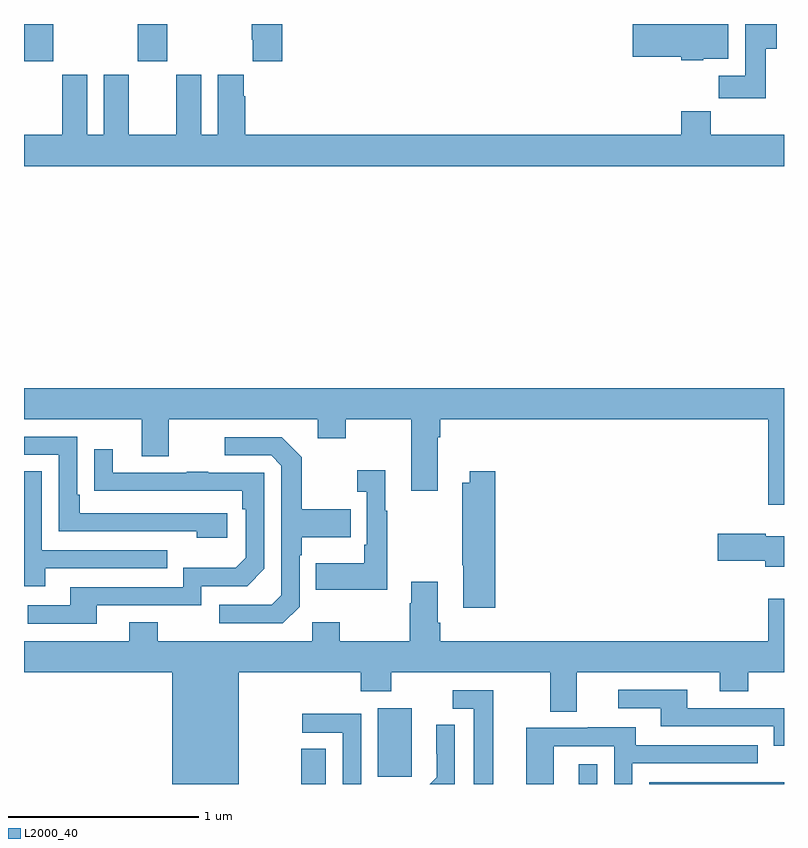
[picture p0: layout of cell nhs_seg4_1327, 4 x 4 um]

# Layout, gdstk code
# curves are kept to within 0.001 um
import gdstk
lib = gdstk.Library(unit=1e-6, precision=1e-09)
def R(c, l, rs):  # rectangles x0, y0, x1, y1
    for r in rs: c.add(gdstk.rectangle(r[:2], r[2:], *l))
def P(c, l, *ps):  # polygons
    for p in ps: c.add(gdstk.Polygon(p, *l))
L2000_40 = (2000, 40)

nhs_seg4_1327 = lib.new_cell('nhs_seg4_1327')
R(nhs_seg4_1327, L2000_40, [(180.458,794.9,180.589,795.086), (181.919,794.9,182.016,795.004), (182.292,794.9,183,794.91), (180.863,794.937,181.042,795.298), (179,798.705,179.154,798.9), (179.599,798.705,179.754,798.9)])
P(nhs_seg4_1327, L2000_40, [(180.359,798.9),(180.199,798.9),(180.199,798.817),(180.203,798.817),(180.203,798.705),(180.359,798.705)],
  [(182.574,798.716),(182.707,798.716),(182.707,798.9),(182.204,798.9),(182.204,798.728),(182.46,798.728),(182.46,798.71),(182.574,798.71)],
  [(182.905,798.769),(182.962,798.769),(182.962,798.9),(182.795,798.9),(182.795,798.628),(182.656,798.628),(182.656,798.51),(182.905,798.51)],
  [(183,798.316),(182.615,798.316),(182.615,798.44),(182.459,798.44),(182.459,798.316),(180.164,798.316),(180.164,798.521),(180.157,798.521),(180.157,798.634),(180.02,798.634),(180.02,798.316),(179.932,798.316),(179.932,798.634),(179.801,798.634),(179.801,798.316),(179.551,798.316),(179.551,798.634),(179.42,798.634),(179.42,798.316),(179.332,798.316),(179.332,798.634),(179.201,798.634),(179.201,798.316),(179,798.316),(179,798.152),(183,798.152)],
  [(183,796.984),(179,796.984),(179,796.82),(179.621,796.82),(179.621,796.626),(179.761,796.626),(179.761,796.82),(180.545,796.82),(180.545,796.721),(180.693,796.721),(180.693,796.82),(181.037,796.82),(181.037,796.443),(181.177,796.443),(181.177,796.724),(181.19,796.724),(181.19,796.82),(182.916,796.82),(182.916,796.371),(183,796.371)],
  [(180.07,796.326),(179.293,796.326),(179.293,796.423),(179.28,796.423),(179.28,796.728),(179,796.728),(179,796.632),(179.184,796.632),(179.184,796.23),(179.909,796.23),(179.909,796.196),(180.07,796.196)],
  [(180.45,795.834),(180.45,796.103),(180.463,796.103),(180.463,796.199),(180.719,796.199),(180.719,796.347),(180.463,796.347),(180.463,796.619),(180.357,796.725),(180.057,796.725),(180.057,796.629),(180.3,796.629),(180.354,796.575),(180.354,795.894),(180.303,795.843),(180.027,795.843),(180.027,795.747),(180.363,795.747)],
  [(179.383,795.84),(179.934,795.84),(179.934,795.942),(180.174,795.942),(180.264,796.032),(180.264,796.539),(179.969,796.539),(179.969,796.544),(179.857,796.544),(179.857,796.539),(179.467,796.539),(179.467,796.663),(179.371,796.663),(179.371,796.444),(180.148,796.443),(180.148,796.346),(180.168,796.346),(180.168,796.092),(180.115,796.039),(179.838,796.039),(179.838,795.936),(179.243,795.936),(179.243,795.84),(179.019,795.84),(179.019,795.744),(179.383,795.744)],
  [(180.913,796.339),(180.901,796.339),(180.901,796.552),(180.753,796.552),(180.753,796.439),(180.804,796.439),(180.804,796.159),(180.792,796.159),(180.792,796.063),(180.535,796.063),(180.535,795.923),(180.913,795.923)],
  [(179.113,796.035),(179.753,796.035),(179.753,796.131),(179.094,796.131),(179.094,796.547),(179,796.547),(179,795.941),(179.113,795.941)],
  [(181.481,796.546),(181.346,796.546),(181.346,796.486),(181.306,796.486),(181.306,796.051),(181.313,796.051),(181.313,795.828),(181.481,795.828)],
  [(183,796.204),(182.904,796.204),(182.904,796.217),(182.652,796.217),(182.652,796.075),(182.9,796.075),(182.9,796.043),(183,796.043)],
  [(180.13,795.488),(180.773,795.488),(180.773,795.389),(180.933,795.389),(180.933,795.488),(181.769,795.488),(181.769,795.28),(181.909,795.28),(181.909,795.488),(182.663,795.488),(182.663,795.389),(182.811,795.389),(182.811,795.488),(183,795.488),(183,795.874),(182.916,795.874),(182.916,795.652),(181.19,795.652),(181.19,795.748),(181.177,795.748),(181.177,795.964),(181.037,795.964),(181.037,795.851),(181.03,795.851),(181.03,795.652),(180.663,795.652),(180.663,795.751),(180.516,795.751),(180.516,795.652),(179.703,795.652),(179.703,795.751),(179.555,795.751),(179.555,795.652),(179,795.652),(179,795.488),(179.78,795.488),(179.78,794.9),(180.13,794.9)],
  [(183,795.3),(182.491,795.3),(182.491,795.396),(182.127,795.396),(182.127,795.3),(182.351,795.3),(182.351,795.204),(182.946,795.204),(182.946,795.101),(183,795.101)],
  [(181.471,795.393),(181.257,795.393),(181.257,795.297),(181.367,795.297),(181.367,794.9),(181.471,794.9)],
  [(180.774,795.27),(180.465,795.27),(180.465,795.171),(180.678,795.171),(180.678,794.9),(180.774,794.9)],
  [(181.266,795.212),(181.17,795.212),(181.17,795.058),(181.172,795.058),(181.172,794.936),(181.136,794.9),(181.266,794.9)],
  [(181.788,795.099),(182.106,795.099),(182.106,794.9),(182.202,794.9),(182.202,795.009),(182.861,795.009),(182.861,795.105),(182.221,795.105),(182.221,795.199),(181.967,795.199),(181.967,795.195),(181.643,795.195),(181.643,794.9),(181.788,794.9)])

lib.write_gds('nhs_seg4_1327.gds')
